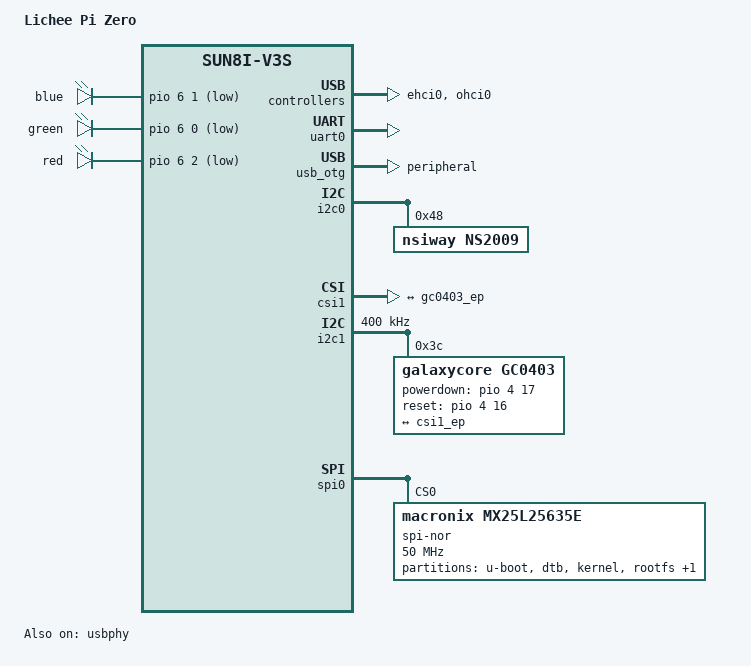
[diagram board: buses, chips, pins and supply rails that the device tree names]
/dts-v1/;
#include "sun8i-v3s-linux.dtsi"
#include "sunxi-common-regulators.dtsi"

/ {
	model = "Lichee Pi Zero";
	compatible = "licheepi,licheepi-zero", "allwinner,sun8i-v3s";

	aliases {
		serial0 = &uart0;
		spi0 = &spi0;
	};

	chosen {
		stdout-path = "serial0:115200n8";
	};

	leds {
		compatible = "gpio-leds";

		blue_led {
			label = "blue";
			gpios = <&pio 6 1 GPIO_ACTIVE_LOW>; /* PG1 */
		};

		green_led {
			label = "green";
			gpios = <&pio 6 0 GPIO_ACTIVE_LOW>; /* PG0 */
			default-state = "on";
		};

		red_led {
			label = "red";
			gpios = <&pio 6 2 GPIO_ACTIVE_LOW>; /* PG2 */
		};
	};
};

&ehci0 {
	status = "okay";
};

&ohci0 {
	status = "okay";
};

&mmc0 {
	broken-cd;
	bus-width = <4>;
	vmmc-supply = <&reg_vcc3v3>;
	status = "disabled";
};

&uart0 {
	pinctrl-0 = <&uart0_pb_pins>;
	pinctrl-names = "default";
	status = "okay";
};

&usb_otg {
	dr_mode = "peripheral";
	status = "okay";
};

&usbphy {
	usb0_id_det = <&pio 5 6 GPIO_ACTIVE_HIGH>; /* PF6 */
	status = "okay";
};

&i2c0 {
	pinctrl-0 = <&i2c0_pins>;
	pinctrl-names = "default";
	status = "okay";
	
//	clock-frequency = <400000>;
	
	ns2009: ns2009@48 {
		compatible = "nsiway,ns2009";
		reg = <0x48>;
	};

};

&csi1 {
	pinctrl-names = "default";
	pinctrl-0 = <&csi1_8bit_pins>;
	status = "okay";

	port {
		#address-cells = <1>;
		#size-cells = <0>;

		csi1_ep: endpoint {
			remote-endpoint = <&gc0403_ep>;
			//data-shift = <4>;
			bus-width = <8>;                              // number of data lines actively used, valid for the parallel busses.
			hsync-active = <1>;                           // active state of the HSYNC signal, 0/1 for LOW/HIGH respectively.
			vsync-active = <0>;                           // active state of the VSYNC signal, 0/1 for LOW/HIGH respectively.
			data-active = <1>;                            // similar to HSYNC and VSYNC, specifies data line polarity.
			pclk-sample = <1>;                            // sample data on rising (1) or falling (0) edge of the pixel clock signal.
		};
	};	
	
};

&isp {
        ports {
            #address-cells = <1>;
            #size-cells = <0>;

            port@0 {
                reg = <0>;

                isp_in_csi0: endpoint {
                    remote-endpoint = <&gc0403_ep>;
                };
            };
        };
    };
    
&i2c1 {
	pinctrl-0 = <&i2c1_pe_pins>;
	pinctrl-names = "default";
	status = "okay";
	
	clock-frequency = <400000>;

	gc0403: camera@3c {
		compatible = "galaxycore,gc0403";
		reg = <0x3c>;

		rockchip,camera-module-index = <0>;
		rockchip,camera-module-facing = "front";
		rockchip,camera-module-name = "Galaxycore gc0403";
		rockchip,camera-module-lens-name = "== ? --";

		pinctrl-names = "default";
		pinctrl-0 = <&csi1_mclk_pin>;


//        	clocks = <&ccu CLK_CSI1_MCLK>;
        	clocks = <&ccu CLK_CSI0_MCLK>;              // need for PE20
		clock-names = "xvclk";

//	        assigned-clocks = <&ccu CLK_CSI1_MCLK>;
//	        assigned-clocks = <&ccu CLK_CSI0_MCLK>;
//	        assigned-clock-rates = <24000000>;

		powerdown-gpios = <&pio 4 17 GPIO_ACTIVE_HIGH>; /* PE17 */  // pwdn name dont be effect
		reset-gpios = <&pio 4 16 GPIO_ACTIVE_HIGH>;

		port {
			gc0403_ep: endpoint {
				remote-endpoint = <&csi1_ep>;
				bus-width = <8>;                              // number of data lines actively used, valid for the parallel busses.
				//data-shift = <4>;
				hsync-active = <1>;                           // active state of the HSYNC signal, 0/1 for LOW/HIGH respectively.
				vsync-active = <0>;                           // active state of the VSYNC signal, 0/1 for LOW/HIGH respectively.
				data-active = <1>;                            // similar to HSYNC and VSYNC, specifies data line polarity.
				pclk-sample = <1>;                            // sample data on rising (1) or falling (0) edge of the pixel clock signal.
			};
		};
	};
};


&spi0 {
	status = "okay";
	
	spi-nor@0 {
		#address-cells = <1>;
		#size-cells = <1>;
		compatible = "macronix,mx25l25635e", "jedec,spi-nor";
		reg = <0>;
		spi-max-frequency = <50000000>;
		status = "okay";

		partitions {
			compatible = "fixed-partitions";
			#address-cells = <1>;
			#size-cells = <1>;

			partition@0 {
				label = "u-boot";
				reg = <0x000000 0x50000>;
				read-only;
			};

			partition@1 {
				label = "dtb";
				reg = <0x50000 0x4000>;
				read-only;
			};

			partition@2 {
				label = "kernel";
				reg = <0x60000 0x300000>;
				read-only;
			};

			partition@3 {
				label = "rootfs";
//				reg = <0x360000 0x880000>;
//				reg = <0x360000 0xCA0000>;
//				reg = <0x360000 0xC50000>;
				reg = <0x360000 0x1A00000>;
//				read-only;
			};

			partition@4 {
				label = "home";
//				reg = <0xfb0000 0x50000>;
//				reg = <0x1000000 0x1000000>;
				reg = <0x1D60000 0x2A0000>;
			};
		};
	};

	//spi-nand@0 {
		//#address-cells = <1>;
		//#size-cells = <1>;
		//compatible = "spi-nand";
		//reg = <0>;
		//spi-max-frequency = <50000000>;
		//status = "disabled";

		//partitions {
			//compatible = "fixed-partitions";
			//#address-cells = <1>;
			//#size-cells = <1>;

			//partition@0 {
				//label = "u-boot";
				//reg = <0x000000 0x80000>;
				//read-only;
			//};

			//partition@1 {
				//label = "dtb";
				//reg = <0x80000 0x20000>;
				//read-only;
			//};

			//partition@2 {
				//label = "kernel";
				//reg = <0x100000 0x700000>;
				//read-only;
			//};

			//partition@3 {
				//label = "rom";
				//reg = <0x800000 0x4000000>;
				//read-only;
			//};

			//partition@4 {
				//label = "overlay";
				//reg = <0x4800000 0x3000000>;
			//};
		//};
	//};
};
